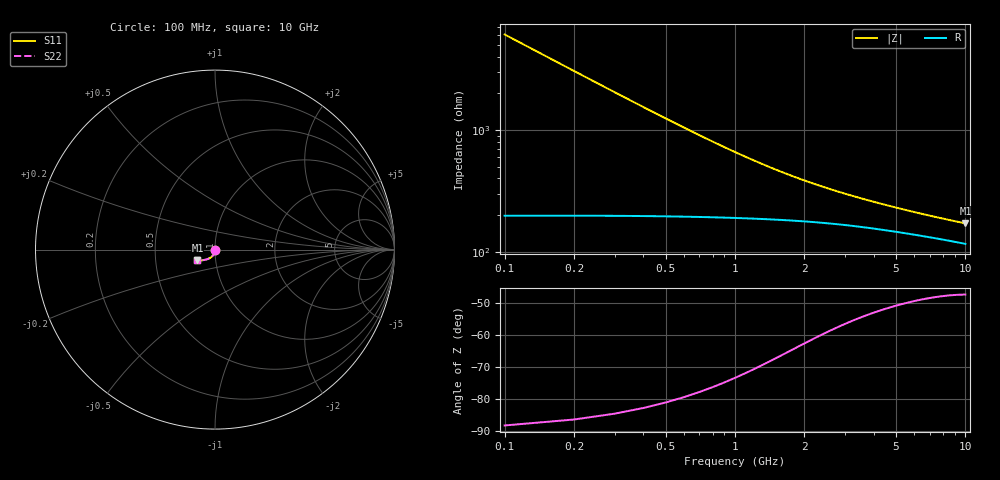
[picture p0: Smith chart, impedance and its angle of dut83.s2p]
! Touchstone file exported from HFSS 2024.1.0
!  File:  C:/UserFiles/LocalFiles/RDL_TSV_Batchsim/temp_TSV1_83_1778751186.aedt
!  Generated:  05:38:17 PM May 14, 2026
!  Design:  TSV1
!  Project:  temp_TSV1_83_1778751186
!  Setup:  Setup1
!  Solution:  Sweep
! Variables:
!  dtsv = 22.54um
!  hbump = 3um
!  htsv = 96.37um
!  lrdl = 252.1521522um
!  p = 40
!  p1 = 57.45um
!  t = 500um
!  trdl = 3um
!  wrdl = 24.89489489um
# GHz S MA R 50.000000
! Terminal data exported
! Port[1] = TSV22_T1
! Port[2] = TSV22_T2
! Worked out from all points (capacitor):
!   100 points, 100 MHz to 10 GHz, reference 50 ohm
!   read as one part in shunt: C = 261 fF near 100 MHz
!   lowest |Z| = 171 ohm at 10 GHz (marker M1)
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0.1  0.003743 -91.0  0.9998 -0.3  0.9998 -0.3  0.003743 -91.0
! Gamma 0 0 0 0
! Port Impedance 50 0 50 0
0.2  0.007466 -93.8  0.9993 -0.5  0.9993 -0.5  0.007466 -93.8
0.3  0.01115 -96.1  0.9986 -0.8  0.9986 -0.8  0.01115 -96.1
0.4  0.01478 -98.3  0.9977 -1.0  0.9977 -1.0  0.01478 -98.3
0.5  0.01833 -100.4  0.9965 -1.2  0.9965 -1.2  0.01833 -100.4
0.6  0.02179 -102.4  0.9951 -1.5  0.9951 -1.5  0.02179 -102.4
0.7  0.02514 -104.3  0.9936 -1.7  0.9936 -1.7  0.02514 -104.3
0.8  0.02838 -106.2  0.9919 -1.9  0.9919 -1.9  0.02838 -106.2
0.9  0.0315 -108.0  0.9901 -2.1  0.9901 -2.1  0.0315 -108.0
1.1  0.03735 -111.4  0.9864 -2.4  0.9864 -2.4  0.03735 -111.4
1.4  0.04518 -115.9  0.9806 -2.9  0.9806 -2.9  0.04518 -115.9
1.6  0.04979 -118.6  0.9767 -3.1  0.9767 -3.1  0.04979 -118.6
1.8  0.05397 -121.0  0.9729 -3.3  0.9729 -3.3  0.05397 -121.0
2.1  0.05954 -124.1  0.9675 -3.6  0.9675 -3.6  0.05954 -124.1
2.5  0.06588 -127.6  0.961 -4.0  0.961 -4.0  0.06588 -127.6
2.9  0.07127 -130.4  0.9552 -4.3  0.9552 -4.3  0.07127 -130.4
3.4  0.07704 -133.3  0.9488 -4.6  0.9488 -4.6  0.07704 -133.3
4.2  0.08469 -136.8  0.9402 -5.0  0.9402 -5.0  0.08469 -136.8
5.1  0.09169 -139.8  0.9322 -5.4  0.9322 -5.4  0.09169 -139.8
6.7  0.1014 -143.5  0.9212 -6.1  0.9212 -6.1  0.1014 -143.5
8.4  0.1091 -146.3  0.9125 -6.7  0.9125 -6.7  0.1091 -146.3
10  0.1148 -148.2  0.9062 -7.3  0.9062 -7.3  0.1148 -148.2
